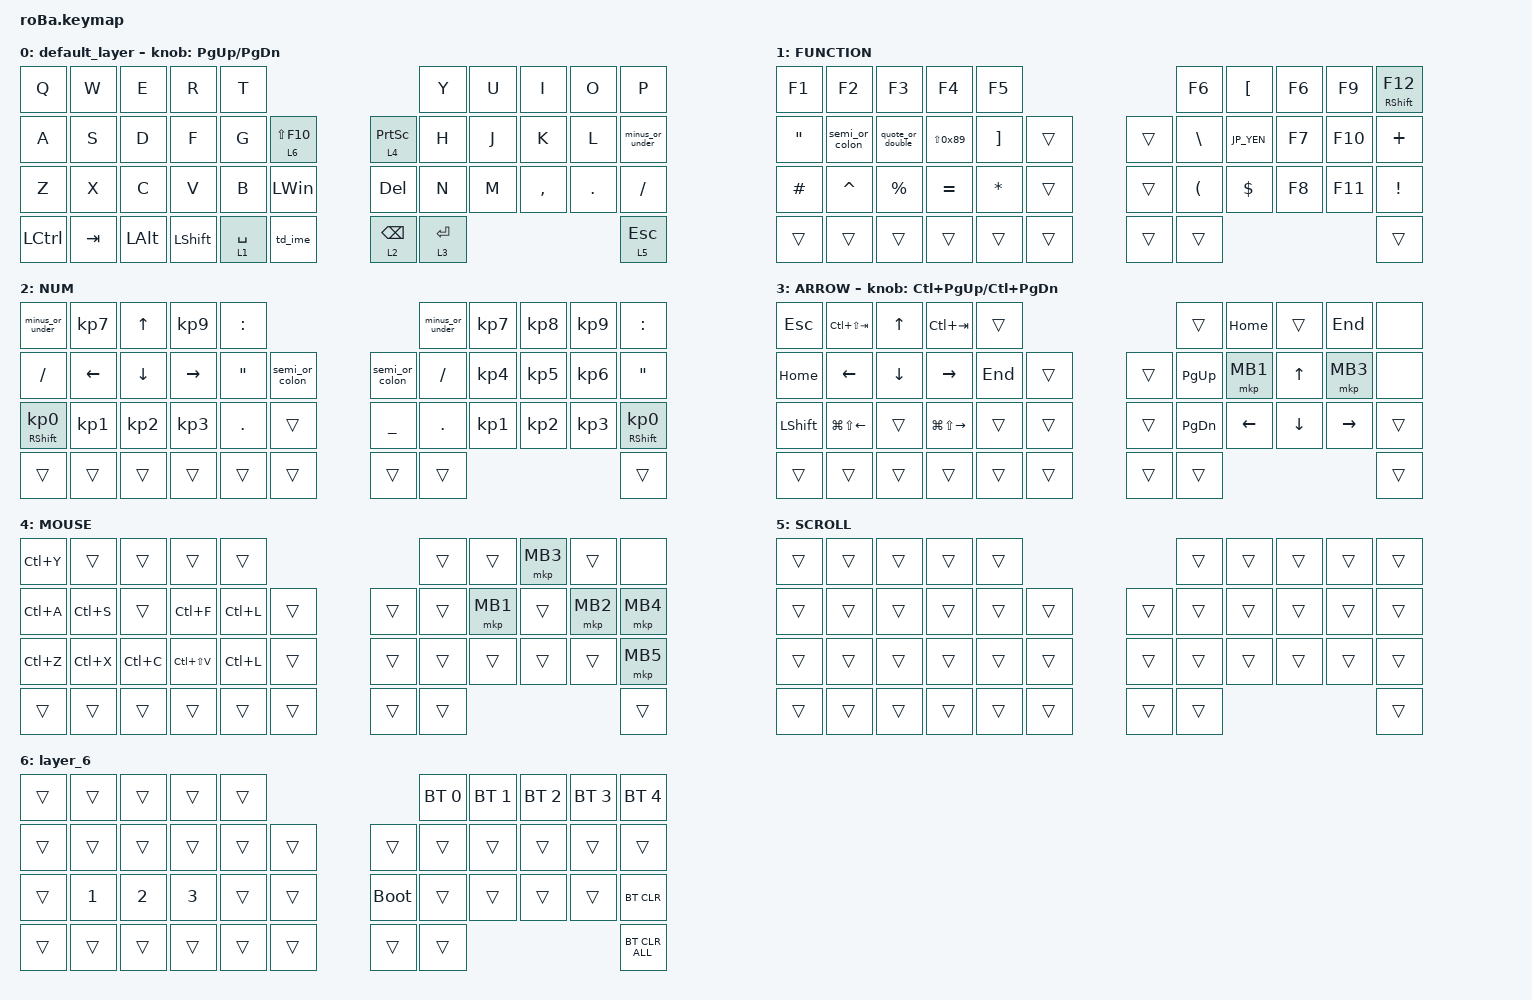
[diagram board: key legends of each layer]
#include <behaviors.dtsi>
#include <dt-bindings/zmk/bt.h>
#include <dt-bindings/zmk/keys.h>
#include <dt-bindings/zmk/pointing.h>

// OS設定を日本語キーボードのまま使用するための変換定義

#define JP_DQUOTE       AT                // "
#define JP_AMPERSAND    CARET             // &
#define JP_QUOTE        AMPERSAND         // '
#define JP_EQUAL        UNDER             // =
#define JP_CARET        EQUAL             // ^
#define JP_YEN          0x89              // ¥
#define JP_PLUS         COLON             // +
#define JP_TILDE        PLUS              // ~
#define JP_PIPE         LS(0x89)          // |
#define JP_AT           LEFT_BRACKET      // @
#define JP_COLON        SINGLE_QUOTE      // :
#define JP_ASTERISK     DOUBLE_QUOTES     // *
#define JP_BACKQUOTE    LEFT_BRACE        // `
#define JP_UNDERSCORE   LS(0x87)          // _
#define JP_LBRACKET     RIGHT_BRACKET     // [
#define JP_RBRACKET     BACKSLASH         // ]
#define JP_LPAREN       ASTERISK          // (
#define JP_RPAREN       LEFT_PARENTHESIS  // )
#define JP_LBRACE       RIGHT_BRACE       // {
#define JP_RBRACE       PIPE              // }
#define JP_KANA         LANGUAGE_1        // かな
#define JP_EISU         LANGUAGE_2        // 英数
#define JP_HANZEN       GRAVE             // 半角/全角

&mt {
    flavor = "balanced";
    quick-tap-ms = <0>;
};

&trackball {
    automouse-layer = <4>;
    scroll-layers = <5>;

    // arrows {
    //     layers = <3>;
    //     bindings =
    //         <&kp RIGHT_ARROW>,
    //         <&kp LEFT_ARROW>,
    //         <&kp UP_ARROW>,
    //         <&kp DOWN_ARROW>;
    //     tick = <10>;
    //     wait-ms = <5>;
    //     tap-ms = <5>;
    // };
};

/ {
    combos {
        compatible = "zmk,combos";

        tab {
            bindings = <&kp TAB>;
            key-positions = <11 12>;
        };

        shift_tab {
            bindings = <&kp LS(TAB)>;
            key-positions = <12 13>;
        };

        muhennkann {
            bindings = <&to_layer_0 INT_MUHENKAN>;
            key-positions = <11 10>;
        };

        double_quotation {
            bindings = <&kp DOUBLE_QUOTES>;
            key-positions = <20 21>;
        };

        eq {
            bindings = <&kp EQUAL>;
            key-positions = <24 25>;
        };
    };

    macros {
        to_layer_0: to_layer_0 {
            compatible = "zmk,behavior-macro-one-param";
            #binding-cells = <1>;
            bindings = <&to 0 &macro_param_1to1 &kp MACRO_PLACEHOLDER>;
            label = "TO_LAYER_0";
        };
    };

    behaviors {
        lt_to_layer_0: lt_to_layer_0 {
            compatible = "zmk,behavior-hold-tap";
            label = "LAYER_TAP_TO_0";
            bindings = <&mo>, <&to_layer_0>;

            #binding-cells = <2>;
            tapping-term-ms = <200>;
        };

        td_ime: tap_dance_ime {
            compatible = "zmk,behavior-tap-dance";
            #binding-cells = <0>;
            bindings = <&kp LANG1>, <&kp LANG2>;

            label = "TAP_DANCE_IME";
        };

        minus_or_under: minus_or_under {
            compatible = "zmk,behavior-mod-morph";
            #binding-cells = <0>;
            bindings = <&kp MINUS>, <&kp JP_UNDERSCORE>;

            mods = <(MOD_LSFT|MOD_RSFT)>;
            label = "MINUS_OR_UNDER";
        };

        quote_or_double: quote_or_double {
            compatible = "zmk,behavior-mod-morph";
            #binding-cells = <0>;
            bindings = <&kp JP_QUOTE>, <&kp JP_DQUOTE>;

            mods = <(MOD_LSFT|MOD_RSFT)>;
            label = "QUOTE_OR_DOUBLE";
        };

        semi_or_colon: semi_or_colon {
            compatible = "zmk,behavior-mod-morph";
            #binding-cells = <0>;
            bindings = <&kp SEMICOLON>, <&kp JP_COLON>;

            mods = <(MOD_LSFT|MOD_RSFT)>;
            label = "SEMI_OR_COLON";
        };
    };

    keymap {
        compatible = "zmk,keymap";

        default_layer {
            bindings = <
&kp Q      &kp W    &kp E         &kp R           &kp T                                                                               &kp Y                   &kp U  &kp I      &kp O    &kp P
&kp A      &kp S    &kp D         &kp F           &kp G                   &lt_to_layer_0 6 LS(F10)      &lt_to_layer_0 4 PRINTSCREEN  &kp H                   &kp J  &kp K      &kp L    &minus_or_under
&kp Z      &kp X    &kp C         &kp V           &kp B                   &kp LEFT_WIN                  &kp DELETE                    &kp N                   &kp M  &kp COMMA  &kp DOT  &kp SLASH
&kp LCTRL  &kp TAB  &kp LEFT_ALT  &kp LEFT_SHIFT  &lt_to_layer_0 1 SPACE  &td_ime                       &lt_to_layer_0 2 BACKSPACE    &lt_to_layer_0 3 ENTER                             &lt 5 ESCAPE
            >;

            sensor-bindings = <&inc_dec_kp PG_UP PAGE_DOWN>;
        };

        FUNCTION {
            bindings = <
&kp F1           &kp F2            &kp F3            &kp F4        &kp F5                               &kp F6           &kp JP_AT   &kp F6  &kp F9   &mt RIGHT_SHIFT F12
&kp JP_ASTERISK  &semi_or_colon    &quote_or_double  &kp JP_PIPE   &kp JP_LBRACKET  &trans      &trans  &kp JP_RBRACKET  &kp JP_YEN  &kp F7  &kp F10  &kp JP_TILDE
&kp HASH         &kp JP_AMPERSAND  &kp PERCENT       &kp JP_CARET  &kp JP_LPAREN    &trans      &trans  &kp JP_RPAREN    &kp DOLLAR  &kp F8  &kp F11  &kp EXCLAMATION
&trans           &trans            &trans            &trans        &trans           &trans      &trans  &trans                                        &trans
            >;
        };

        NUM {
            bindings = <
&minus_or_under              &kp KP_NUMBER_7  &kp UP_ARROW     &kp KP_NUMBER_9  &kp JP_PLUS                                          &minus_or_under  &kp KP_NUMBER_7  &kp KP_NUMBER_8  &kp KP_NUMBER_9  &kp JP_PLUS
&kp SLASH                    &kp LEFT_ARROW   &kp DOWN_ARROW   &kp RIGHT_ARROW  &kp JP_ASTERISK  &semi_or_colon      &semi_or_colon  &kp SLASH        &kp KP_NUMBER_4  &kp KP_NUMBER_5  &kp KP_NUMBER_6  &kp JP_ASTERISK
&mt RIGHT_SHIFT KP_NUMBER_0  &kp KP_NUMBER_1  &kp KP_NUMBER_2  &kp KP_NUMBER_3  &kp PERIOD       &trans              &kp JP_EQUAL    &kp PERIOD       &kp KP_NUMBER_1  &kp KP_NUMBER_2  &kp KP_NUMBER_3  &mt RIGHT_SHIFT KP_NUMBER_0
&trans                       &trans           &trans           &trans           &trans           &trans              &trans          &trans                                                              &trans
            >;
        };

        ARROW {
            bindings = <
&kp ESCAPE      &kp LC(LS(TAB))         &kp UP_ARROW    &kp LC(TAB)              &trans                       &trans         &kp HOME  &trans        &kp END    &none
&kp HOME        &kp LEFT_ARROW          &kp DOWN_ARROW  &kp RIGHT_ARROW          &kp END  &trans      &trans  &kp PAGE_UP    &mkp MB1  &kp UP_ARROW  &mkp MB3   &none
&kp LEFT_SHIFT  &kp LG(LS(LEFT_ARROW))  &trans          &kp LG(LS(RIGHT_ARROW))  &trans   &trans      &trans  &kp PAGE_DOWN  &kp LEFT  &kp DOWN      &kp RIGHT  &trans
&trans          &trans                  &trans          &trans                   &trans   &trans      &trans  &trans                                            &trans
            >;

            sensor-bindings = <&inc_dec_kp LC(PAGE_UP) LC(PAGE_DOWN)>;
        };

        MOUSE {
            bindings = <
&kp LC(Y)  &trans     &trans     &trans         &trans                         &trans  &trans    &mkp MB3  &trans    &none
&kp LC(A)  &kp LC(S)  &trans     &kp LC(F)      &kp LC(L)  &trans      &trans  &trans  &mkp MB1  &trans    &mkp MB2  &mkp MB4
&kp LC(Z)  &kp LC(X)  &kp LC(C)  &kp LC(LS(V))  &kp LC(L)  &trans      &trans  &trans  &trans    &trans    &trans    &mkp MB5
&trans     &trans     &trans     &trans         &trans     &trans      &trans  &trans                                &trans
            >;
        };

        SCROLL {
            bindings = <
&trans  &trans  &trans  &trans  &trans                      &trans  &trans  &trans  &trans  &trans
&trans  &trans  &trans  &trans  &trans  &trans      &trans  &trans  &trans  &trans  &trans  &trans
&trans  &trans  &trans  &trans  &trans  &trans      &trans  &trans  &trans  &trans  &trans  &trans
&trans  &trans  &trans  &trans  &trans  &trans      &trans  &trans                          &trans
            >;
        };

        layer_6 {
            bindings = <
&trans  &trans        &trans        &trans        &trans                           &bt BT_SEL 0  &bt BT_SEL 1  &bt BT_SEL 2  &bt BT_SEL 3  &bt BT_SEL 4
&trans  &trans        &trans        &trans        &trans  &trans      &trans       &trans        &trans        &trans        &trans        &trans
&trans  &kp NUMBER_1  &kp NUMBER_2  &kp NUMBER_3  &trans  &trans      &bootloader  &trans        &trans        &trans        &trans        &bt BT_CLR
&trans  &trans        &trans        &trans        &trans  &trans      &trans       &trans                                                  &bt BT_CLR_ALL
            >;
        };
    };
};
